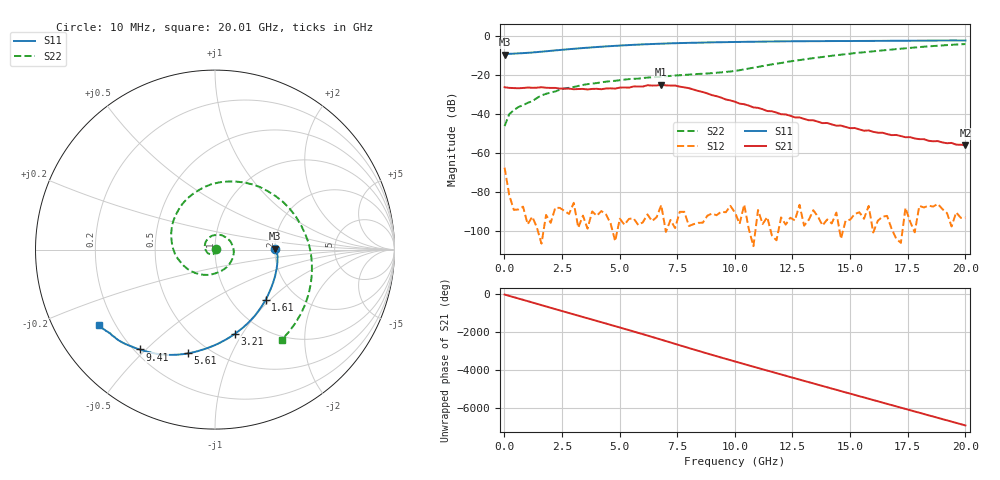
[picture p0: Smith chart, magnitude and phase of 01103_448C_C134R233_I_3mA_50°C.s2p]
!;Filter: kein Filter
!auto
!3/21/2019 9:27:07 AM
!3/21/2019 9:27:22 AM
!SP-Measurements Prober G4
!SP-Measurements Prober G4
!01103_448C
!134
!233
!12
!50
!-20
!0.00299959
!1.83
!0.38139174
!0.38139174
# Hz S  RI  R 50
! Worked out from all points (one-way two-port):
!   101 points, 10 MHz to 20.01 GHz, reference 50 ohm
!   highest |S21| = -24.93 dB at 6.81 GHz (marker M1); lowest = -56.1 dB at 20.01 GHz (marker M2)
!   lowest |S11| = -9.6 dB at 10 MHz (marker M3), VSWR 2.00, Z = 99.8 + j1.28 ohm
!   |S11| at or under -10 dB: nowhere
!   |S22| runs from -46.2 to -4.1 dB; largest |S21 - S12| = 0.057
!   S11 on the Smith chart (normalised r, x): 10 MHz: 2.00, +0.03; 1.61 GHz: 1.41, -0.95; 3.21 GHz: 0.76, -0.93; 5.61 GHz: 0.39, -0.70; 9.41 GHz: 0.22, -0.48; 20.01 GHz: 0.14, -0.29
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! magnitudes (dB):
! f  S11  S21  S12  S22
! 10 MHz  -9.6  -26.3  -67.6  -46.2
! 210 MHz  -9.1  -26.6  -81.6  -40.1
! 610 MHz  -8.9  -26.8  -89.0  -36.4
! 1.21 GHz  -8.4  -26.5  -92.8  -33.4
! 1.61 GHz  -8.0  -26.3  -106.6  -30.4
! 2.61 GHz  -6.9  -27.0  -89.9  -26.9
! 3.21 GHz  -6.3  -27.2  -98.4  -25.6
! 3.41 GHz  -6.1  -27.1  -92.2  -25.1
! 4.81 GHz  -5.0  -27.0  -105.3  -22.9
! 5.61 GHz  -4.5  -25.8  -93.6  -21.9
! 6.81 GHz  -3.9  -24.9  -86.8  -20.8
! 8.01 GHz  -3.5  -26.7  -97.5  -19.8
! 9.41 GHz  -3.1  -31.6  -90.2  -18.6
! 10.01 GHz  -3.0  -33.7  -90.7  -17.9
! 11.41 GHz  -2.8  -38.5  -93.0  -14.9
! 13.21 GHz  -2.6  -43.2  -94.4  -11.6
! 13.41 GHz  -2.6  -43.2  -89.5  -11.3
! 13.81 GHz  -2.6  -44.7  -97.3  -10.7
! 14.01 GHz  -2.6  -44.6  -94.2  -10.4
! 14.41 GHz  -2.5  -46.0  -90.6  -9.8
! 16.81 GHz  -2.4  -50.9  -99.1  -6.9
! 20.01 GHz  -2.3  -56.1  -93.2  -4.1
